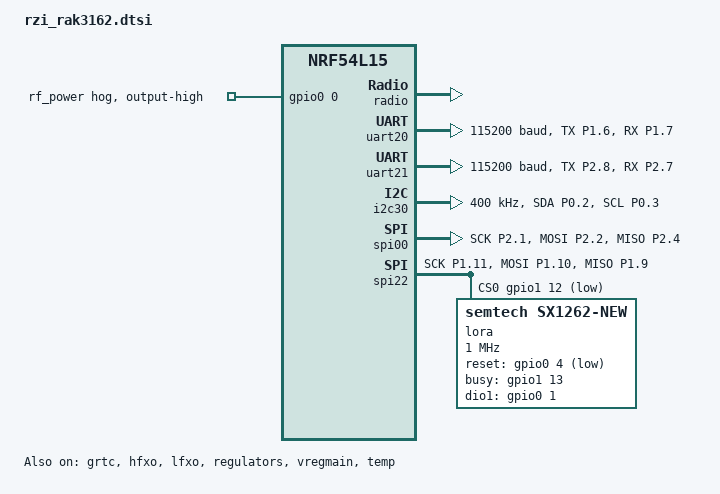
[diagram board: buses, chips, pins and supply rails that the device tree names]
/* SPDX-FileCopyrightText: Copyright (c) 2026 RAKwireless */
/* SPDX-License-Identifier: Apache-2.0 */
/*
 * RAK3162 WisDuo module: nRF54L15, the SX1262 on SPI22, the crystals, and
 * the pinmux of the module pads. The pad peripherals (UART, I2C, SPI) are
 * configured but left disabled; the carrier board enables the ones it wires
 * and adds the console choice and the partition map.
 */

#include <nordic/nrf54l15_cpuapp.dtsi>
#include <zephyr/dt-bindings/gpio/gpio.h>
#include <zephyr/dt-bindings/i2c/i2c.h>
#include <zephyr/dt-bindings/pinctrl/nrf-pinctrl.h>
#include <zephyr/dt-bindings/regulator/nrf5x.h>
#include <zephyr/dt-bindings/usp/sx126x.h>

&pinctrl {
	uart20_default: uart20_default {
		group1 {
			psels = <NRF_PSEL(UART_TX, 1, 6)>;
		};
		group2 {
			psels = <NRF_PSEL(UART_RX, 1, 7)>;
			bias-pull-up;
		};
	};

	uart20_sleep: uart20_sleep {
		group1 {
			psels = <NRF_PSEL(UART_TX, 1, 6)>,
				<NRF_PSEL(UART_RX, 1, 7)>;
			low-power-enable;
		};
	};

	uart21_default: uart21_default {
		group1 {
			psels = <NRF_PSEL(UART_TX, 2, 8)>;
		};
		group2 {
			psels = <NRF_PSEL(UART_RX, 2, 7)>;
			bias-pull-up;
		};
	};

	uart21_sleep: uart21_sleep {
		group1 {
			psels = <NRF_PSEL(UART_TX, 2, 8)>,
				<NRF_PSEL(UART_RX, 2, 7)>;
			low-power-enable;
		};
	};

	i2c30_default: i2c30_default {
		group1 {
			psels = <NRF_PSEL(TWIM_SDA, 0, 2)>,
				<NRF_PSEL(TWIM_SCL, 0, 3)>;
		};
	};

	i2c30_sleep: i2c30_sleep {
		group1 {
			psels = <NRF_PSEL(TWIM_SDA, 0, 2)>,
				<NRF_PSEL(TWIM_SCL, 0, 3)>;
			low-power-enable;
		};
	};

	spi00_default: spi00_default {
		group1 {
			psels = <NRF_PSEL(SPIM_SCK, 2, 1)>,
				<NRF_PSEL(SPIM_MOSI, 2, 2)>,
				<NRF_PSEL(SPIM_MISO, 2, 4)>;
		};
	};

	spi00_sleep: spi00_sleep {
		group1 {
			psels = <NRF_PSEL(SPIM_SCK, 2, 1)>,
				<NRF_PSEL(SPIM_MOSI, 2, 2)>,
				<NRF_PSEL(SPIM_MISO, 2, 4)>;
			low-power-enable;
		};
	};

	spi22_default: spi22_default {
		group1 {
			psels = <NRF_PSEL(SPIM_SCK, 1, 11)>,
				<NRF_PSEL(SPIM_MOSI, 1, 10)>,
				<NRF_PSEL(SPIM_MISO, 1, 9)>;
		};
	};

	spi22_sleep: spi22_sleep {
		group1 {
			psels = <NRF_PSEL(SPIM_SCK, 1, 11)>,
				<NRF_PSEL(SPIM_MOSI, 1, 10)>,
				<NRF_PSEL(SPIM_MISO, 1, 9)>;
			low-power-enable;
		};
	};
};

&cpuapp_sram {
	status = "okay";
};

&grtc {
	owned-channels = <0 1 2 3 4 5 6 7 8 9 10 11>;
	/* Channels 7-11 reserved for Zero Latency IRQs, 3-4 for FLPR */
	child-owned-channels = <3 4 7 8 9 10 11>;
	status = "okay";
};

&clock {
	status = "okay";
};

&hfxo {
	status = "okay";
	load-capacitors = "internal";
	load-capacitance-femtofarad = <5000>;
};

&lfxo {
	status = "okay";
	load-capacitors = "internal";
	load-capacitance-femtofarad = <8000>;
};

&regulators {
	status = "okay";
};

&vregmain {
	status = "okay";
	regulator-initial-mode = <NRF5X_REG_MODE_DCDC>;
};

&gpio0 {
	status = "okay";

	rf_power: rf-power {
		gpio-hog;
		gpios = <0 GPIO_ACTIVE_HIGH>;
		output-high;
	};
};

&gpio1 {
	status = "okay";
};

&gpio2 {
	status = "okay";
};

&gpiote20 {
	status = "okay";
};

&gpiote30 {
	status = "okay";
};

&radio {
	status = "okay";
};

&temp {
	status = "okay";
};

&uart20 {
	current-speed = <115200>;
	pinctrl-0 = <&uart20_default>;
	pinctrl-1 = <&uart20_sleep>;
	pinctrl-names = "default", "sleep";
};

&uart21 {
	current-speed = <115200>;
	pinctrl-0 = <&uart21_default>;
	pinctrl-1 = <&uart21_sleep>;
	pinctrl-names = "default", "sleep";
};

&i2c30 {
	clock-frequency = <I2C_BITRATE_FAST>;
	pinctrl-0 = <&i2c30_default>;
	pinctrl-1 = <&i2c30_sleep>;
	pinctrl-names = "default", "sleep";
};

&spi00 {
	cs-gpios = <&gpio2 5 GPIO_ACTIVE_LOW>;
	pinctrl-0 = <&spi00_default>;
	pinctrl-1 = <&spi00_sleep>;
	pinctrl-names = "default", "sleep";
};

&spi22 {
	status = "okay";
	overrun-character = <0x00>;
	cs-gpios = <&gpio1 12 GPIO_ACTIVE_LOW>;
	pinctrl-0 = <&spi22_default>;
	pinctrl-1 = <&spi22_sleep>;
	pinctrl-names = "default", "sleep";

	lora: lora@0 {
		compatible = "semtech,sx1262-new";
		reg = <0>;
		reset-gpios = <&gpio0 4 GPIO_ACTIVE_LOW>;
		busy-gpios = <&gpio1 13 GPIO_ACTIVE_HIGH>;
		dio1-gpios = <&gpio0 1 (GPIO_ACTIVE_HIGH | GPIO_PULL_DOWN)>;
		dio2-as-rf-switch;
		dio3-as-tcxo-control;
		tcxo-voltage = <SX126X_TCXO_SUPPLY_1_8V>;
		tcxo-wakeup-time = <5>;
		reg-mode = <SX126X_REG_MODE_DCDC>;
		/* SX1262 PA table, one entry per dBm from -9 to 22. */
		tx-power-cfg =
			<(  1) 0x01 0x01>,
			<(  4) 0x00 0x01>,
			<(  4) 0x01 0x01>,
			<(  7) 0x00 0x01>,
			<(  2) 0x00 0x02>,
			<(  7) 0x03 0x01>,
			<(  8) 0x03 0x01>,
			<(  9) 0x03 0x01>,
			<( 13) 0x00 0x01>,
			<( 16) 0x00 0x01>,
			<( 19) 0x00 0x01>,
			<( 20) 0x00 0x01>,
			<( 18) 0x03 0x01>,
			<( 21) 0x00 0x01>,
			<( 16) 0x00 0x02>,
			<( 22) 0x00 0x01>,
			<( 22) 0x01 0x01>,
			<( 22) 0x02 0x01>,
			<( 22) 0x03 0x01>,
			<( 22) 0x04 0x01>,
			<( 22) 0x00 0x02>,
			<( 22) 0x01 0x02>,
			<( 22) 0x02 0x02>,
			<( 22) 0x03 0x02>,
			<( 22) 0x01 0x03>,
			<( 22) 0x02 0x03>,
			<( 22) 0x00 0x05>,
			<( 22) 0x01 0x05>,
			<( 22) 0x02 0x05>,
			<( 22) 0x03 0x06>,
			<( 22) 0x04 0x06>,
			<( 22) 0x04 0x07>;
		spi-max-frequency = <DT_FREQ_M(1)>;
	};
};
